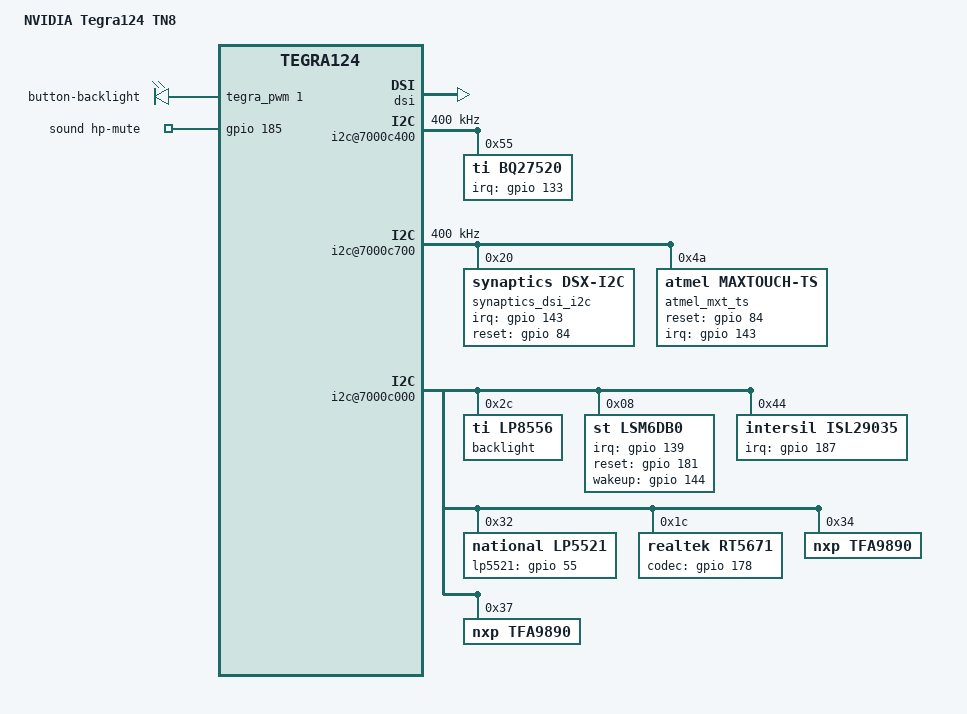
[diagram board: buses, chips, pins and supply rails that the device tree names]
/dts-v1/;

#include "tegra124-tn8.dtsi"
#include "tegra124-platforms/tegra124-tn8-emc-e1922-1100-a00.dtsi"
#include "tegra124-platforms/tegra124-tn8-pmic-e1736-1000-a00.dtsi"
#include "tegra124-platforms/tegra124-tn8-fixed-e1736-1000-a00.dtsi"

/* this is static dtsi files */
#include "tegra124-platforms/tegra124-mocha-gpio-e1780.dtsi"
#include "tegra124-platforms/tegra124-mocha-keys-e1780.dtsi"
#include "tegra124-platforms/tegra124-mocha-pinmux-e1780.dtsi"
/* end of static dtsi files */

#include "tegra124-platforms/tegra124-mocha-sysedp.dtsi"
#include "tegra124-platforms/tegra124-mocha-camera.dtsi"
#include "panel-s-wqxga-7-9-x6.dtsi"

/ {
	model = "NVIDIA Tegra124 TN8";
	compatible = "nvidia,tn8", "nvidia,tegra124";
	nvidia,dtsfilename = __FILE__;
	nvidia,boardids = "1780:1100:3:A:7","1845:1000:0:A:7";
	#address-cells = <2>;
	#size-cells = <2>;

	chosen {
		bootargs = "tegraid=40.0.0.00.00 vmalloc=256M video=tegrafb console=ttyS0,115200n8 earlyprintk";
		linux,initrd-start = <0x85000000>;
		linux,initrd-end = <0x851bc400>;
	};

	host1x {
		/* tegradc.0 */
		dc@54200000 {
			status = "okay";
			nvidia,dc-flags = <TEGRA_DC_FLAG_ENABLED>;
			nvidia,emc-clk-rate = <204000000>;
			nvidia,cmu-enable = <0>;
			nvidia,low-v-win = <0x2>;
			nvidia,fb-bpp = <32>; /* bits per pixel */
			nvidia,fb-flags = <TEGRA_FB_FLIP_ON_PROBE>;
		};
		dsi {
			nvidia,dsi-controller-vs = <DSI_VS_1>;
			status = "okay";
		};
	};

	i2c@7000c400 {
		status = "okay";
		clock-frequency = <400000>;

		bq27520@55 {
			compatible = "ti,bq27520";
			reg = <0x55>;

			interrupt-parent = <&gpio>;
			interrupts = <133 0>;
			ti,fw-lgc-name = "0105_lgc.dffs";
			ti,fw-atl-name = "0205_atl.dffs";
		};
	};

	i2c@7000c700 {
		nvidia,clock-always-on;
		clock-frequency = <400000>;

		synaptics_dsi_i2c@20 {
			compatible = "synaptics,dsx-i2c";
			reg = <0x20>;

			synaptics,x-flip = <0>;
			synaptics,y-flip = <0>;
			synaptics,swap-axes = <0>;
			synaptics,irq-gpio = <&gpio 143 0>;
			synaptics,irq-on-state = <0>;
			synaptics,power-on-state = <1>;
			synaptics,reset-gpio = <&gpio 84 0>;
			synaptics,reset-on-state = <0>;
			synaptics,irq-flags = <0x2008>;
			synaptics,fw-name = "synaptics_7040_firmware.fw";
			synaptics,self-test-name = "synaptics_7040_test_data.fw";
			synaptics,panel-x = <1536>;
			synaptics,panel-y = <2048>;
			synaptics,power-delay-ms = <160>;
			synaptics,reset-delay-ms = <100>;
			synaptics,reset-active-ms = <20>;
			synaptics,byte-delay-us = <20>;
			synaptics,block-delay-us = <20>;
			synaptics,regulator-name = "vdd-touch";
			synaptics,cap-button-map = <139 102 158 116>;
		};

		atmel_mxt_ts@4a {
			compatible = "atmel,maxtouch-ts";
			reg = <0x4a>;

			interrupt-parent = <&gpio>;
			interrupts = <143 0x2>;
			atmel,irq-flags = <0x2008>;
			atmel,reset-gpio = <&gpio 84 0>;
			atmel,irq-gpio = <&gpio 143 0>;
			atmel,gpio-mask = <0xc>;
			atmel,vendor-info = <0x03eb>;
			atmel,product-info = <0x214f>;
			atmel,key-codes = <158 102 139 116>;
			atmel,config-array-size = <2>;

			atmel,cfg_1 {
				atmel,family-id = <0xA4>;
				atmel,variant-id = <0x04>;
				atmel,version = <0x10>;
				atmel,build = <0xAA>;
				atmel,bootldr-id = <0x48>;
				atmel,mxt-cfg-name = "mxt1664t_config.fw";
				atmel,vendor-id = <0x4>;
				atmel,mxt-fw-name = "mxt1664t.fw";
			};
			atmel,cfg_2 {
				atmel,family-id = <0xA4>;
				atmel,variant-id = <0x0B>;
				atmel,version = <0x12>;
				atmel,build = <0xAC>;
				atmel,bootldr-id = <0x51>;
				atmel,mxt-cfg-name = "mxt1066t_config.fw";
				atmel,vendor-id = <0x4>;
				atmel,mxt-fw-name = "mxt1066t.fw";
			};
		};
	};

	i2c@7000c000 {
		backlight@2c {
			compatible = "ti,lp8556";
			reg = <0x2c>;

			dev-ctrl = /bits/ 8 <0x83>;
			init-brt = /bits/ 8 <0x1f>;
			led-en   = /bits/ 8 <0x0f>;

			rom_98h {
				rom-addr = /bits/ 8 <0x98>;
				rom-val = /bits/ 8 <0x80>;
			};
			rom_9eh {
				rom-addr = /bits/ 8 <0x9e>;
				rom-val = /bits/ 8 <0x21>;
			};
			rom_a0h {
				rom-addr = /bits/ 8 <0xa0>;
				rom-val = /bits/ 8 <0xff>;
			};
			rom_a1h {
				rom-addr = /bits/ 8 <0xa1>;
				rom-val = /bits/ 8 <0x3f>;
			};
			rom_a2h {
				rom-addr = /bits/ 8 <0xa2>;
				rom-val = /bits/ 8 <0x20>;
			};
			rom_a3h {
				rom-addr = /bits/ 8 <0xa3>;
				rom-val = /bits/ 8 <0x00>;
			};
			rom_a4h {
				rom-addr = /bits/ 8 <0xa4>;
				rom-val = /bits/ 8 <0x72>;
			};
			rom_a5h {
				rom-addr = /bits/ 8 <0xa5>;
				rom-val = /bits/ 8 <0x24>;
			};
			rom_a6h {
				rom-addr = /bits/ 8 <0xa6>;
				rom-val = /bits/ 8 <0x80>;
			};
			rom_a7h {
				rom-addr = /bits/ 8 <0xa7>;
				rom-val = /bits/ 8 <0xf5>;
			};
			rom_a8h {
				rom-addr = /bits/ 8 <0xa8>;
				rom-val = /bits/ 8 <0x24>;
			};
			rom_a9h {
				rom-addr = /bits/ 8 <0xa9>;
				rom-val = /bits/ 8 <0xb2>;
			};
			rom_aah {
				rom-addr = /bits/ 8 <0xaa>;
				rom-val = /bits/ 8 <0x8f>;
			};
			rom_aeh {
				rom-addr = /bits/ 8 <0xae>;
				rom-val = /bits/ 8 <0x0f>;
			};
		};

		lsm6db0@08 {
			compatible = "st,lsm6db0";
			reg = <0x08>;

			st,irq-gpio = <&gpio 139 0x00>;
			st,reset-gpio = <&gpio 181 0x00>;
			st,wakeup-gpio = <&gpio 144 0x00>;
		};

		isl29035@44 {
			compatible = "intersil,isl29035";
			reg = <0x44>;
			interrupt-parent = <&gpio>;
			interrupts = <187 0x08>;

			als_factor = <16>;
			als_highrange = <2>;
			als_lowthres = <0x0e00>;
			als_highthres = <0xf800>;
			als_sensitive = <25>;
		};

		lp5521@32 {
			compatible = "national,lp5521";
			reg = <0x32>;
			lp5521,clock-mode = <0>;
			lp5521,gpio = <&gpio 55 0>;
			lp5521,num-channels = <3>;

			lp5521,config_1 {
				lp5521,name = "red";
				lp5521,chan-nr = <0>;
				lp5521,led-current = <20>;
				lp5521,max-current = <255>;
			};
			lp5521,config_2 {
				lp5521,name = "green";
				lp5521,chan-nr = <1>;
				lp5521,led-current = <20>;
				lp5521,max-current = <255>;
			};
			lp5521,config_3 {
				lp5521,name = "blue";
				lp5521,chan-nr = <2>;
				lp5521,led-current = <20>;
				lp5521,max-current = <255>;
			};
		};

		rt5671@1c {
			compatible = "realtek,rt5671";
			reg = <0x1c>;

	                realtek,jd_mode = <2>;
	                realtek,codec_gpio = <&gpio 178 0>;
	                realtek,in2_diff = <1>;
	                realtek,in3_diff = <0>;
	                realtek,in4_diff = <1>;
	                realtek,bclk_32fs = <0 1 1 1>;
		};

		tfa9890@34 {
			compatible = "nxp,tfa9890";
			reg = <0x34>;
		};

		tfa9890@37 {
			compatible = "nxp,tfa9890";
			reg = <0x37>;
		};

	};
	
	tegra_pwm: pwm@7000a000 {
		clocks = <&tegra_car 17>;
	};
	
	pwmleds {
		compatible = "pwm-leds";
		button_led {
			label = "button-backlight";
			pwms = <&tegra_pwm 1 10000>;
			max-brightness = <100>;
			max-duty = <50>;
		};
	};

	sound {
		compatible = "nvidia,tegra-audio-rt5671";
		nvidia,hp-mute-gpios = <&gpio 185 0>;
		nvidia,i2s-param-hifi = <0 0 2 16 2 48000>;
	};
};

